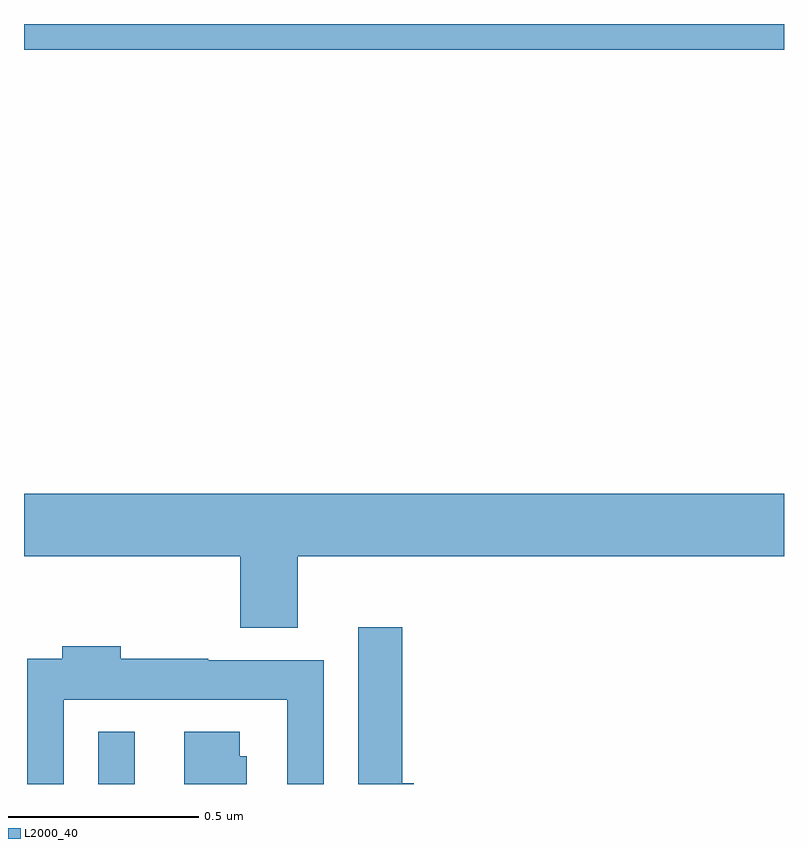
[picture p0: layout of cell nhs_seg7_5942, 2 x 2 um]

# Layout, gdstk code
import gdstk
lib = gdstk.Library(unit=1e-6, precision=1e-09)
def R(c, l, rs):  # rectangles x0, y0, x1, y1
    for r in rs: c.add(gdstk.rectangle(r[:2], r[2:], *l))
def P(c, l, *ps):  # polygons
    for p in ps: c.add(gdstk.Polygon(p, *l))
L2000_40 = (2000, 40)

nhs_seg7_5942 = lib.new_cell('nhs_seg7_5942')
R(nhs_seg7_5942, L2000_40, [(192.195,1016,192.292,1016.137), (192,1017.932,194,1018)])
P(nhs_seg7_5942, L2000_40, [(192.721,1016.6),(194,1016.6),(194,1016.764),(192,1016.764),(192,1016.6),(192.569,1016.6),(192.569,1016.411),(192.721,1016.411)],
  [(193.025,1016.002),(192.995,1016.002),(192.995,1016.413),(192.879,1016.413),(192.879,1016),(193.025,1016)],
  [(192.105,1016.222),(192.693,1016.222),(192.693,1016),(192.789,1016),(192.789,1016.326),(192.485,1016.326),(192.485,1016.329),(192.254,1016.329),(192.254,1016.362),(192.101,1016.362),(192.101,1016.329),(192.009,1016.329),(192.009,1016),(192.105,1016)],
  [(192.586,1016.073),(192.568,1016.073),(192.568,1016.137),(192.422,1016.137),(192.422,1016),(192.586,1016)])

lib.write_gds('nhs_seg7_5942.gds')
